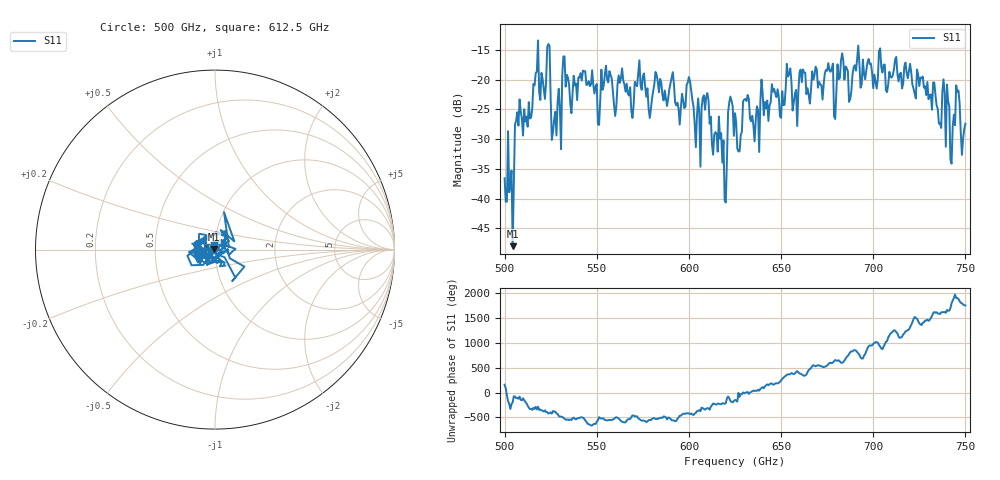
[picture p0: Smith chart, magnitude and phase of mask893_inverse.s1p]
!Created with skrf (http://scikit-rf.org).
# GHz S MA R 50.0
!freq magS11 angS11
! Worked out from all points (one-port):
!   401 points, 500 GHz to 750 GHz, reference 50 ohm
!   lowest |S11| = -48.0 dB at 504.4 GHz (marker M1), VSWR 1.01, Z = 49.6 + j0.111 ohm
!   |S11| at or under -10 dB: start of sweep to end of sweep
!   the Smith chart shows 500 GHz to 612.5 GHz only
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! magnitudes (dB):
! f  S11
! 500 GHz  -36.6
! 504.4 GHz  -48.0
! 506.9 GHz  -25.5
! 513.8 GHz  -26.5
! 516.9 GHz  -18.9
! 523.8 GHz  -14.0
! 526.9 GHz  -26.7
! 531.2 GHz  -19.4
! 562.5 GHz  -20.5
! 579.4 GHz  -24.9
! 590.6 GHz  -19.6
! 593.8 GHz  -23.8
! 600 GHz  -19.5
! 605 GHz  -23.1
! 609.4 GHz  -22.9
! 619.4 GHz  -40.2
! 622.5 GHz  -22.8
! 625 GHz  -25.6
! 656.2 GHz  -25.2
! 676.9 GHz  -18.6
! 680 GHz  -22.1
! 683.8 GHz  -16.7
! 687.5 GHz  -23.3
! 691.2 GHz  -16.6
! 718.8 GHz  -19.7
! 743.1 GHz  -27.9
! 745.6 GHz  -22.0
! 750 GHz  -27.4
